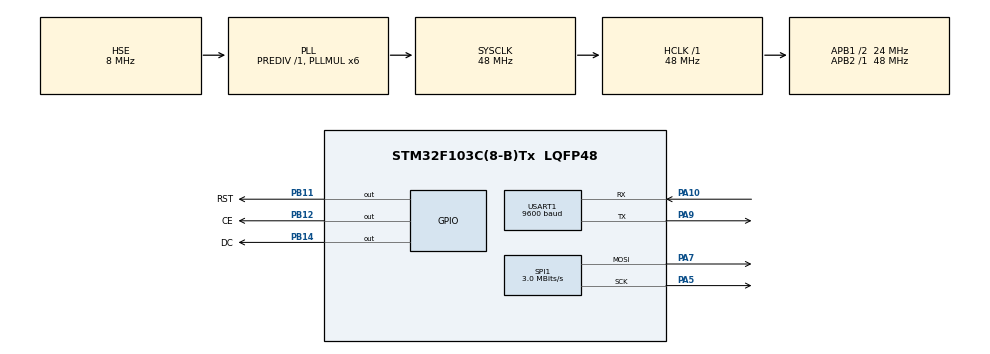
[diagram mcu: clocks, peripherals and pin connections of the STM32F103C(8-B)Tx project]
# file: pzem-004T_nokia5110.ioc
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Dma.Request0=SPI1_TX
Dma.SPI1_TX.0.Direction=DMA_MEMORY_TO_PERIPH
Dma.SPI1_TX.0.Instance=DMA1_Channel3
Dma.SPI1_TX.0.MemDataAlignment=DMA_MDATAALIGN_BYTE
Dma.SPI1_TX.0.MemInc=DMA_MINC_ENABLE
Dma.SPI1_TX.0.Mode=DMA_NORMAL
Dma.SPI1_TX.0.PeriphDataAlignment=DMA_PDATAALIGN_BYTE
Dma.SPI1_TX.0.PeriphInc=DMA_PINC_DISABLE
Dma.SPI1_TX.0.Priority=DMA_PRIORITY_LOW
Mcu.Family=STM32F1
Mcu.Name=STM32F103C(8-B)Tx
Mcu.Package=LQFP48
NVIC.DMA1_Channel3_IRQn=true\:0\:0\:false\:false\:true\:false\:true\:true
NVIC.PriorityGroup=NVIC_PRIORITYGROUP_4
NVIC.SPI1_IRQn=true\:0\:0\:false\:false\:true\:true\:true\:true
NVIC.TIM4_IRQn=true\:0\:0\:false\:false\:true\:true\:true\:true
NVIC.USART1_IRQn=true\:0\:0\:false\:false\:true\:true\:true\:true
PA10.Mode=Asynchronous
PA10.Signal=USART1_RX
PA13.Mode=Serial_Wire
PA13.Signal=SYS_JTMS-SWDIO
PA14.Mode=Serial_Wire
PA14.Signal=SYS_JTCK-SWCLK
PA5.Mode=TX_Only_Simplex_Unidirect_Master
PA5.Signal=SPI1_SCK
PA7.Mode=TX_Only_Simplex_Unidirect_Master
PA7.Signal=SPI1_MOSI
PA9.Mode=Asynchronous
PA9.Signal=USART1_TX
PB11.GPIO_Label=RST
PB11.Signal=GPIO_Output
PB12.GPIO_Label=CE
PB12.PinState=GPIO_PIN_SET
PB12.Signal=GPIO_Output
PB14.GPIO_Label=DC
PB14.Signal=GPIO_Output
PD0-OSC_IN.Mode=HSE-External-Oscillator
PD0-OSC_IN.Signal=RCC_OSC_IN
PD1-OSC_OUT.Mode=HSE-External-Oscillator
PD1-OSC_OUT.Signal=RCC_OSC_OUT
ProjectManager.HeapSize=0x200
ProjectManager.StackSize=0x400
ProjectManager.TargetToolchain=STM32CubeIDE
RCC.AHBFreq_Value=48000000
RCC.APB1CLKDivider=RCC_HCLK_DIV2
RCC.APB1Freq_Value=24000000
RCC.APB1TimFreq_Value=48000000
RCC.APB2Freq_Value=48000000
RCC.APB2TimFreq_Value=48000000
RCC.EnbaleCSS=true
RCC.HCLKFreq_Value=48000000
RCC.PLLMUL=RCC_PLL_MUL6
RCC.PLLSourceVirtual=RCC_PLLSOURCE_HSE
RCC.SYSCLKFreq_VALUE=48000000
RCC.SYSCLKSource=RCC_SYSCLKSOURCE_PLLCLK
RCC.USBFreq_Value=48000000
SPI1.BaudRatePrescaler=SPI_BAUDRATEPRESCALER_16
SPI1.CalculateBaudRate=3.0 MBits/s
SPI1.Direction=SPI_DIRECTION_2LINES
SPI1.Mode=SPI_MODE_MASTER
SPI1.VirtualType=VM_MASTER
TIM4.Period=1000-1
TIM4.Prescaler=48000-1
USART1.BaudRate=9600
USART1.VirtualMode=VM_ASYNC
VP_TIM4_VS_ClockSourceINT.Mode=Internal
board=custom

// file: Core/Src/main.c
/* USER CODE BEGIN Header */
/**
 ******************************************************************************
 * @file           : main.c
 * @brief          : Main program body
 ******************************************************************************
 * @attention
 *
 * Copyright (c) 2024 STMicroelectronics.
 * All rights reserved.
 *
 * This software is licensed under terms that can be found in the LICENSE file
 * in the root directory of this software component.
 * If no LICENSE file comes with this software, it is provided AS-IS.
 *
 ******************************************************************************
 */
/* USER CODE END Header */
#include "main.h"

/* USER CODE BEGIN Includes */
#include <stdio.h>
#include "nokia5110.h"
#include "nokia5110_font.h"
/* USER CODE END Includes */

/* USER CODE BEGIN PD */
#define RX_BUFSIZE 25
#define TX_BUFSIZE 8
#define FONT_HEIGHT 8
#define FONT_WIDTH 6
/* USER CODE END PD */

SPI_HandleTypeDef hspi1;
DMA_HandleTypeDef hdma_spi1_tx;

TIM_HandleTypeDef htim4;

UART_HandleTypeDef huart1;

/* USER CODE BEGIN PV */
const uint8_t txData[] = { 0x01, 0x04, 0x00, 0x00, 0x00, 0x0A, 0x70, 0x0D };
uint8_t rxData[RX_BUFSIZE];

uint8_t isReadyData = 0;
uint8_t isWait = 0;

double v; // Напряжение в V
double a; // Ток в А
double w; // Мощность в Вт
double e; // Энергия в КВт*ч, максимальное значение на экране 999,9, далее строка будет обрезана
double pf; // Коэффициент мощности

char str[20];
uint8_t strLen;
/* USER CODE END PV */

void SystemClock_Config(void);
static void MX_GPIO_Init(void);
static void MX_DMA_Init(void);
static void MX_USART1_UART_Init(void);
static void MX_SPI1_Init(void);
static void MX_TIM4_Init(void);
/* USER CODE BEGIN PFP */
static void setWaiting(void);
/* USER CODE END PFP */

int main(void) {

  /* MCU Configuration--------------------------------------------------------*/

  /* Reset of all peripherals, Initializes the Flash interface and the Systick. */
  HAL_Init();

  /* Configure the system clock */
  SystemClock_Config();

  /* Initialize all configured peripherals */
  MX_GPIO_Init();
  MX_DMA_Init();
  MX_USART1_UART_Init();
  MX_SPI1_Init();
  MX_TIM4_Init();
  /* USER CODE BEGIN 2 */
  N5110_Init();

  N5110_SetFont(SmallFont);

  setWaiting();

  HAL_UART_Receive_IT(&huart1, rxData, RX_BUFSIZE);

  __HAL_TIM_CLEAR_FLAG(&htim4, TIM_SR_UIF); // очищаем флаг
  HAL_TIM_Base_Start_IT(&htim4);
  /* USER CODE END 2 */

  /* Infinite loop */
  /* USER CODE BEGIN WHILE */
  while (1) {
    if (isReadyData) {
      isReadyData = 0;
      isWait = 0;

      // Напряжение, байты 3 и 4, один бит равен 0,1 В
      v = (rxData[3] << 8 | rxData[4]) / 10.0;
      // Ток, 5 и 6 младшие байты 7 и 8 старшие байты, один бит равен 0,001 А
      a = ((uint64_t) rxData[7] << 32 | rxData[8] << 16 | rxData[5] << 8 | rxData[6]) / 1000.0;
      // Мощность, 9 и 10 младшие байты, 11 и 12 старшие байты, один бит равен 0,1 Вт
      w = ((uint64_t) rxData[11] << 32 | rxData[12] << 16 | rxData[9] << 8 | rxData[10]) / 10.0;
      // Энергия, 13 и 14 младшие байты, 15 и 16 старшие байты, один бит равен 1 Вт*ч
      e = ((uint64_t) rxData[15] << 32 | rxData[16] << 16 | rxData[13] << 8 | rxData[14]) / 1000.0;
      // Коэффициент мощности, байты 19 и 20, один бит равен 0,01
      pf = (rxData[19] << 8 | rxData[20]) / 100.0;

      N5110_Clear();
      //N5110_SetFont(SmallFont);

      strLen = snprintf(str, 20, "U = %5.1f V", v);
      N5110_PrintStr(N5110_MAX_WIDTH / 2 - (strLen * FONT_WIDTH / 2), 0, str, true);

      strLen = snprintf(str, 20, "I = %5.3f A", a);
      N5110_PrintStr(N5110_MAX_WIDTH / 2 - (strLen * FONT_WIDTH / 2), 10, str, true);

      strLen = snprintf(str, 20, "P = %5.1f W", w);
      N5110_PrintStr(N5110_MAX_WIDTH / 2 - (strLen * FONT_WIDTH / 2), 20, str, true);

      strLen = snprintf(str, 20, "E = %3.1f KW*h", e);
      N5110_PrintStr(N5110_MAX_WIDTH / 2 - (strLen * FONT_WIDTH / 2), 30, str, true);

      strLen = snprintf(str, 20, "PF = %4.2f", pf);
      N5110_PrintStr(N5110_MAX_WIDTH / 2 - (strLen * FONT_WIDTH / 2), 40, str, true);
      N5110_Update();
    }

    if (isWait == 5) {
      // Предуппреждение выводится только один раз, т. к. в следующей итерации isWait = 6
      setWaiting();
    }
    /* USER CODE END WHILE */

  }
}

void SystemClock_Config(void) {
  RCC_OscInitTypeDef RCC_OscInitStruct = { 0 };
  RCC_ClkInitTypeDef RCC_ClkInitStruct = { 0 };

  /** Initializes the RCC Oscillators according to the specified parameters
   * in the RCC_OscInitTypeDef structure.
   */
  RCC_OscInitStruct.OscillatorType = RCC_OSCILLATORTYPE_HSE;
  RCC_OscInitStruct.HSEState = RCC_HSE_ON;
  RCC_OscInitStruct.HSEPredivValue = RCC_HSE_PREDIV_DIV1;
  RCC_OscInitStruct.HSIState = RCC_HSI_ON;
  RCC_OscInitStruct.PLL.PLLState = RCC_PLL_ON;
  RCC_OscInitStruct.PLL.PLLSource = RCC_PLLSOURCE_HSE;
  RCC_OscInitStruct.PLL.PLLMUL = RCC_PLL_MUL6;
  if (HAL_RCC_OscConfig(&RCC_OscInitStruct) != HAL_OK) {
    Error_Handler();
  }

  /** Initializes the CPU, AHB and APB buses clocks
   */
  RCC_ClkInitStruct.ClockType = RCC_CLOCKTYPE_HCLK | RCC_CLOCKTYPE_SYSCLK | RCC_CLOCKTYPE_PCLK1 | RCC_CLOCKTYPE_PCLK2;
  RCC_ClkInitStruct.SYSCLKSource = RCC_SYSCLKSOURCE_PLLCLK;
  RCC_ClkInitStruct.AHBCLKDivider = RCC_SYSCLK_DIV1;
  RCC_ClkInitStruct.APB1CLKDivider = RCC_HCLK_DIV2;
  RCC_ClkInitStruct.APB2CLKDivider = RCC_HCLK_DIV1;

  if (HAL_RCC_ClockConfig(&RCC_ClkInitStruct, FLASH_LATENCY_1) != HAL_OK) {
    Error_Handler();
  }

  /** Enables the Clock Security System
   */
  HAL_RCC_EnableCSS();
}

static void MX_SPI1_Init(void) {

  /* SPI1 parameter configuration*/
  hspi1.Instance = SPI1;
  hspi1.Init.Mode = SPI_MODE_MASTER;
  hspi1.Init.Direction = SPI_DIRECTION_2LINES;
  hspi1.Init.DataSize = SPI_DATASIZE_8BIT;
  hspi1.Init.CLKPolarity = SPI_POLARITY_LOW;
  hspi1.Init.CLKPhase = SPI_PHASE_1EDGE;
  hspi1.Init.NSS = SPI_NSS_SOFT;
  hspi1.Init.BaudRatePrescaler = SPI_BAUDRATEPRESCALER_16;
  hspi1.Init.FirstBit = SPI_FIRSTBIT_MSB;
  hspi1.Init.TIMode = SPI_TIMODE_DISABLE;
  hspi1.Init.CRCCalculation = SPI_CRCCALCULATION_DISABLE;
  hspi1.Init.CRCPolynomial = 10;
  if (HAL_SPI_Init(&hspi1) != HAL_OK) {
    Error_Handler();
  }

}

static void MX_TIM4_Init(void) {

  TIM_ClockConfigTypeDef sClockSourceConfig = { 0 };
  TIM_MasterConfigTypeDef sMasterConfig = { 0 };

  htim4.Instance = TIM4;
  htim4.Init.Prescaler = 48000 - 1;
  htim4.Init.CounterMode = TIM_COUNTERMODE_UP;
  htim4.Init.Period = 1000 - 1;
  htim4.Init.ClockDivision = TIM_CLOCKDIVISION_DIV1;
  htim4.Init.AutoReloadPreload = TIM_AUTORELOAD_PRELOAD_DISABLE;
  if (HAL_TIM_Base_Init(&htim4) != HAL_OK) {
    Error_Handler();
  }
  sClockSourceConfig.ClockSource = TIM_CLOCKSOURCE_INTERNAL;
  if (HAL_TIM_ConfigClockSource(&htim4, &sClockSourceConfig) != HAL_OK) {
    Error_Handler();
  }
  sMasterConfig.MasterOutputTrigger = TIM_TRGO_RESET;
  sMasterConfig.MasterSlaveMode = TIM_MASTERSLAVEMODE_DISABLE;
  if (HAL_TIMEx_MasterConfigSynchronization(&htim4, &sMasterConfig) != HAL_OK) {
    Error_Handler();
  }

}

static void MX_USART1_UART_Init(void) {

  huart1.Instance = USART1;
  huart1.Init.BaudRate = 9600;
  huart1.Init.WordLength = UART_WORDLENGTH_8B;
  huart1.Init.StopBits = UART_STOPBITS_1;
  huart1.Init.Parity = UART_PARITY_NONE;
  huart1.Init.Mode = UART_MODE_TX_RX;
  huart1.Init.HwFlowCtl = UART_HWCONTROL_NONE;
  huart1.Init.OverSampling = UART_OVERSAMPLING_16;
  if (HAL_UART_Init(&huart1) != HAL_OK) {
    Error_Handler();
  }

}

static void MX_DMA_Init(void) {

  /* DMA controller clock enable */
  __HAL_RCC_DMA1_CLK_ENABLE();

  /* DMA interrupt init */
  /* DMA1_Channel3_IRQn interrupt configuration */
  HAL_NVIC_SetPriority(DMA1_Channel3_IRQn, 0, 0);
  HAL_NVIC_EnableIRQ(DMA1_Channel3_IRQn);

}

static void MX_GPIO_Init(void) {
  GPIO_InitTypeDef GPIO_InitStruct = { 0 };

  /* GPIO Ports Clock Enable */
  __HAL_RCC_GPIOD_CLK_ENABLE();
  __HAL_RCC_GPIOA_CLK_ENABLE();
  __HAL_RCC_GPIOB_CLK_ENABLE();

  /*Configure GPIO pin Output Level */
  HAL_GPIO_WritePin(GPIOB, RST_Pin | DC_Pin, GPIO_PIN_RESET);

  /*Configure GPIO pin Output Level */
  HAL_GPIO_WritePin(CE_GPIO_Port, CE_Pin, GPIO_PIN_SET);

  /*Configure GPIO pins : RST_Pin CE_Pin DC_Pin */
  GPIO_InitStruct.Pin = RST_Pin | CE_Pin | DC_Pin;
  GPIO_InitStruct.Mode = GPIO_MODE_OUTPUT_PP;
  GPIO_InitStruct.Pull = GPIO_NOPULL;
  GPIO_InitStruct.Speed = GPIO_SPEED_FREQ_LOW;
  HAL_GPIO_Init(GPIOB, &GPIO_InitStruct);

}

/* USER CODE BEGIN 4 */
void HAL_UART_RxCpltCallback(UART_HandleTypeDef *huart) {
  if (huart == &huart1) {
    // Сразу запускаем ожидание получения данных с датчика PZEM-004T
    HAL_UART_Receive_IT(&huart1, rxData, RX_BUFSIZE);
    isReadyData = 1;
  }
}

void HAL_TIM_PeriodElapsedCallback(TIM_HandleTypeDef *htim) {
  if (htim->Instance == TIM4) {
    if (isWait <= 5) {
      // Если в течении 5 секунд нет ответа от датчика, выводим предупреждение
      isWait++;
    }

    // Каждую секунду отправляем запрос на получение данных с датчика PZEM-004T
    HAL_UART_Transmit_IT(&huart1, txData, TX_BUFSIZE);
  }
}

// Вывод на экран надписи WAITING FOR DATA...
static void setWaiting(void) {
  N5110_Clear();
  strLen = snprintf(str, 20, "WAITING");
  N5110_PrintStr(N5110_MAX_WIDTH / 2 - (strLen * FONT_WIDTH / 2), 10, str, true);
  strLen = snprintf(str, 20, "FOR DATA...");
  N5110_PrintStr(N5110_MAX_WIDTH / 2 - (strLen * FONT_WIDTH / 2), 30, str, true);
  N5110_Update();
}
/* USER CODE END 4 */

void Error_Handler(void) {
  __disable_irq();
  while (1) {
  }
}
